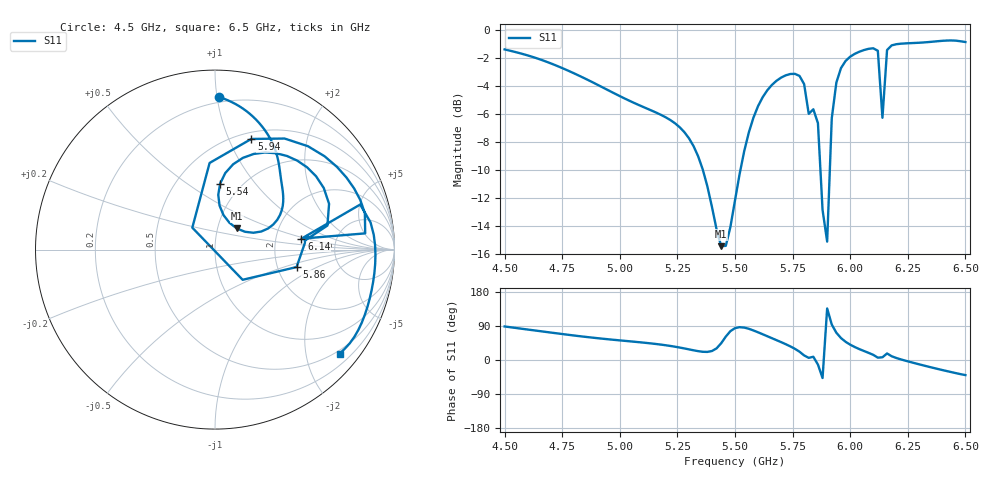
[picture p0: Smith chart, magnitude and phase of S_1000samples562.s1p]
! TOUCHSTONE file generated by CST MICROWAVE STUDIO
! Date and time: Fri Oct 28 14:52:48 2022
! Project name: L.cst
! Parameters = {Di=1.27; Epsilon_r=1.56; InnerDiameter=1.27; Length=2; Lf=10; Lg=60; OuterConductorThickness=0.2921; OuterDiameter=3.6; Wf=3; Wp=41.2; de=1.5; df=6.8; g=0.8; gx=2.03838; gy=4.58757; h=2.34; hf=1.524; px=14.2521; py=14.1622; w=9.7; wx=12.2137; wy=9.57463}
! Header version: 2018
! Port assignment regex: !\s*Touchstone port\s*([0-9]+)\s*=\s*(CST MWS port|CST DS port)\s*([0-9]+|Zmin|Zmax)\s*\(\"(.*)\"\)(\s*mode\s*([0-9]+))?.*
! Touchstone port assignment:
! Touchstone port 1 = CST MWS port 1 ("")
# GHz S DB R 50
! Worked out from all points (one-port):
!   101 points, 4.5 GHz to 6.5 GHz, reference 50 ohm
!   lowest |S11| = -15.4 dB at 5.44 GHz (marker M1), VSWR 1.41, Z = 61.8 + j15 ohm
!   |S11| at or under -10 dB: 5.361 GHz to 5.523 GHz (162.8 MHz wide, 2.99 % of centre); 5.871 GHz to 5.912 GHz (40.79 MHz wide, 0.692 % of centre)
!   S11 on the Smith chart (normalised r, x): 4.5 GHz: 0.16, +1.01; 5.54 GHz: 0.80, +0.68; 5.86 GHz: 2.55, -0.63; 5.94 GHz: 0.57, +1.21; 6.14 GHz: 2.81, +0.45; 6.5 GHz: 0.42, -2.70
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4.5  -1.40 88.5
4.76  -2.80 67.8
5  -4.73 51.8
5.26  -6.95 32.8
5.36  -9.96 21.7
5.44  -15.43 44.2
5.46  -15.40 61.7
5.5  -12.16 84.1
5.54  -8.65 85.5
5.64  -4.32 62.8
5.7  -3.41 47.2
5.76  -3.14 29.5
5.8  -3.87 12.1
5.82  -5.99 5.7
5.84  -5.67 8.6
5.86  -6.66 -12.1
5.88  -12.84 -47.5
5.9  -15.10 136.0
5.92  -6.31 93.6
5.94  -3.76 71.8
5.96  -2.73 57.9
6  -1.92 40.4
6.06  -1.44 23.7
6.12  -1.50 6.2
6.14  -6.27 7.2
6.16  -1.44 17.2
6.26  -0.95 -5.1
6.5  -0.87 -39.8
